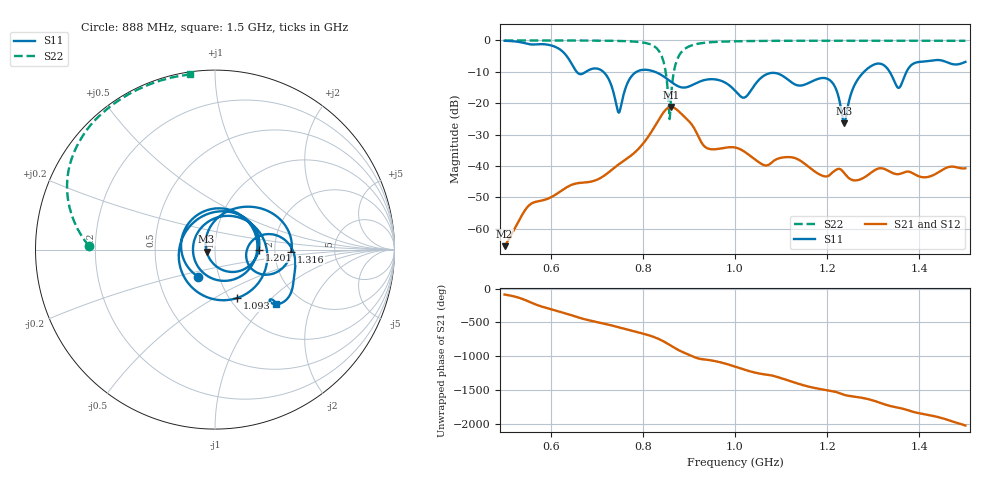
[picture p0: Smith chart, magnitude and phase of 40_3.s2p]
! TOUCHSTONE file generated by CST MICROWAVE STUDIO
! Date and time: Fri Dec 11 14:18:19 2020
! Project name: Scenario_1_Planar_Body_Tissue_Out_of_Line_v2.cst
! Parameters = {dy1=328.7; L_HA=400; Ltissue=700; MT=2.54; Rad_Dielectric=30; Rad_Lower=7.3; Rad_Upper=30; Wtissue=700; a_HA=580; a_WG=246; b_HA=500; b_WG=121; c_HA=0; c_WG=187; d_feed=85; dx1=520; h_feed=15; h_lower=18; h_upper=40; hfat=3; hgap=25; hmuscle=50; hskin=1.5}
! Header version: 2018
! Port assignment regex: !\s*Touchstone port\s*([0-9]+)\s*=\s*(CST MWS port|CST DS port)\s*([0-9]+|Zmin|Zmax)\s*\(\"(.*)\"\)(\s*mode\s*([0-9]+))?.*
! Touchstone port assignment:
! Touchstone port 1 = CST MWS port 1 ("")
! Touchstone port 2 = CST MWS port 2 ("")
# GHz S DB R 50
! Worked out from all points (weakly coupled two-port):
!   1003 points, 500 MHz to 1.5 GHz, reference 50 ohm
!   highest |S21| = -21.18 dB at 861 MHz (marker M1); lowest = -65.5 dB at 500 MHz (marker M2)
!   lowest |S11| = -26.4 dB at 1.237 GHz (marker M3), VSWR 1.10, Z = 45.5 - j1.02 ohm
!   |S11| at or under -10 dB: 714.4 MHz to 786.2 MHz (71.85 MHz wide, 9.58 % of centre); 826.4 MHz to 1.28 GHz (453.5 MHz wide, 43.1 % of centre); 1.336 GHz to 1.372 GHz (36.49 MHz wide, 2.7 % of centre) (the widest 3 of 4)
!   |S22| runs from -25.0 to 0.0 dB; largest |S21 - S12| = 2.3e-05
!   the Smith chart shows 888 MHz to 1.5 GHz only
!   S11 on the Smith chart (normalised r, x): 888 MHz: 0.79, -0.25; 1.093 GHz: 1.08, -0.64; 1.201 GHz: 1.65, +0.00; 1.316 GHz: 2.48, -0.07; 1.5 GHz: 1.51, -1.15
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0.5  -0.10 -122.0  -65.50 -88.0  -65.49 -88.0  -0.01 151.2
0.596  -1.42 -173.6  -50.24 64.3  -50.24 64.3  -0.02 144.4
0.632  -4.48 150.4  -47.00 -5.7  -47.00 -5.7  -0.03 141.6
0.667  -10.70 156.1  -45.30 -80.0  -45.30 -80.0  -0.04 138.4
0.715  -10.09 113.6  -43.16 -156.2  -43.16 -156.2  -0.09 133.0
0.748  -22.98 -34.3  -39.42 147.8  -39.42 147.8  -0.16 127.9
0.787  -9.93 162.5  -35.02 78.9  -35.02 78.9  -0.43 118.2
0.834  -10.49 55.6  -25.38 -22.9  -25.38 -22.9  -3.17 84.1
0.861  -13.15 -21.5  -21.18 -125.2  -21.18 -125.2  -18.51 -116.9
0.888  -15.01 -122.0  -23.98 137.7  -23.98 137.7  -3.06 178.3
0.931  -12.72 84.0  -33.29 35.3  -33.28 35.3  -0.80 154.3
1  -15.99 -99.0  -34.08 -72.6  -34.08 -72.6  -0.27 140.3
1.046  -13.54 62.5  -38.17 -164.8  -38.17 -164.8  -0.17 134.9
1.093  -10.56 -65.7  -37.63 131.8  -37.63 131.8  -0.13 130.4
1.126  -13.67 -166.5  -37.29 60.1  -37.29 60.1  -0.11 127.5
1.167  -13.04 72.3  -41.07 -19.6  -41.07 -19.6  -0.10 124.2
1.201  -12.24 0.1  -43.25 -63.7  -43.24 -63.7  -0.09 121.6
1.237  -26.39 -166.5  -42.24 -130.4  -42.24 -130.4  -0.08 118.9
1.267  -12.30 67.2  -44.46 -164.1  -44.46 -164.1  -0.08 116.6
1.316  -7.43 -1.5  -40.68 109.9  -40.68 109.9  -0.09 112.9
1.334  -9.61 -24.9  -41.62 70.7  -41.62 70.7  -0.09 111.6
1.5  -6.83 -41.6  -40.68 138.4  -40.68 138.4  -0.13 98.0
